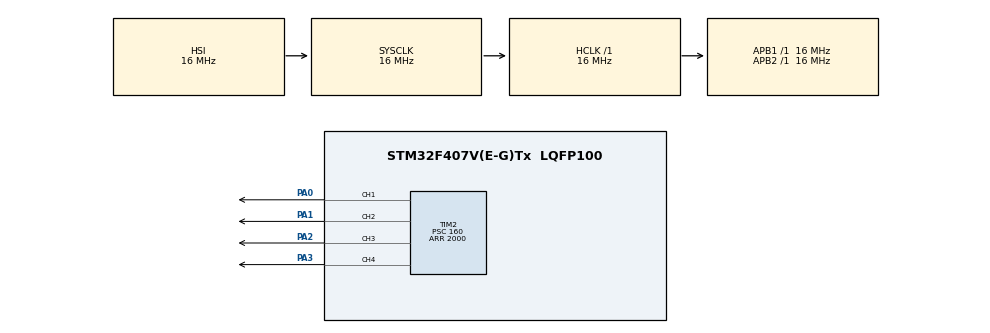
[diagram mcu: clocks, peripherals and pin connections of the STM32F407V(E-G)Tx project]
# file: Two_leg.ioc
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Mcu.Family=STM32F4
Mcu.Name=STM32F407V(E-G)Tx
Mcu.Package=LQFP100
NVIC.PriorityGroup=NVIC_PRIORITYGROUP_4
PA0-WKUP.Signal=S_TIM2_CH1_ETR
PA1.Signal=S_TIM2_CH2
PA2.Signal=S_TIM2_CH3
PA3.Signal=S_TIM2_CH4
ProjectManager.HeapSize=0x200
ProjectManager.StackSize=0x400
ProjectManager.TargetToolchain=MDK-ARM V5
RCC.AHBFreq_Value=16000000
RCC.APB1Freq_Value=16000000
RCC.APB2Freq_Value=16000000
RCC.CortexFreq_Value=16000000
RCC.HSE_VALUE=25000000
RCC.HSI_VALUE=16000000
RCC.LSE_VALUE=32768
RCC.SYSCLKFreq_VALUE=16000000
RCC.VCOOutputFreq_Value=192000000
SH.S_TIM2_CH1_ETR.0=TIM2_CH1,PWM Generation1 CH1
SH.S_TIM2_CH2.0=TIM2_CH2,PWM Generation2 CH2
SH.S_TIM2_CH3.0=TIM2_CH3,PWM Generation3 CH3
SH.S_TIM2_CH4.0=TIM2_CH4,PWM Generation4 CH4
TIM2.Channel-PWM\ Generation1\ CH1=TIM_CHANNEL_1
TIM2.Channel-PWM\ Generation2\ CH2=TIM_CHANNEL_2
TIM2.Channel-PWM\ Generation3\ CH3=TIM_CHANNEL_3
TIM2.Channel-PWM\ Generation4\ CH4=TIM_CHANNEL_4
TIM2.Period=2000
TIM2.Prescaler=160
VP_TIM2_VS_ClockSourceINT.Mode=Internal
board=custom

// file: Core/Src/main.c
/* USER CODE BEGIN Header */
/**
  ******************************************************************************
  * @file           : main.c
  * @brief          : Main program body
  ******************************************************************************
  * @attention
  *
  * <h2><center>&copy; Copyright (c) 2019 STMicroelectronics.
  * All rights reserved.</center></h2>
  *
  * This software component is licensed by ST under BSD 3-Clause license,
  * the "License"; You may not use this file except in compliance with the
  * License. You may obtain a copy of the License at:
  *                        opensource.org/licenses/BSD-3-Clause
  *
  ******************************************************************************
  */
/* USER CODE END Header */

#include "main.h"

TIM_HandleTypeDef htim2;

/* USER CODE BEGIN PV */
int error_code = 0;
/* USER CODE END PV */

void SystemClock_Config(void);
static void MX_GPIO_Init(void);
static void MX_TIM2_Init(void);
/* USER CODE BEGIN PFP */
extern void user_loop(void);
static void PWM_Init(void);
static void GPIO_INIT();
/* USER CODE END PFP */

int main(void)
{

  /* MCU Configuration--------------------------------------------------------*/

  /* Reset of all peripherals, Initializes the Flash interface and the Systick. */
  HAL_Init();

  /* Configure the system clock */
  SystemClock_Config();

  /* Initialize all configured peripherals */
  MX_GPIO_Init();
  MX_TIM2_Init();
  /* USER CODE BEGIN 2 */
  PWM_Init();
  GPIO_INIT();
  user_loop();
  /* USER CODE END 2 */

  /* Infinite loop */
  while (1)
  {

  }
}

void SystemClock_Config(void)
{
  RCC_OscInitTypeDef RCC_OscInitStruct = {0};
  RCC_ClkInitTypeDef RCC_ClkInitStruct = {0};

  /** Configure the main internal regulator output voltage
  */
  __HAL_RCC_PWR_CLK_ENABLE();
  __HAL_PWR_VOLTAGESCALING_CONFIG(PWR_REGULATOR_VOLTAGE_SCALE1);
  /** Initializes the CPU, AHB and APB busses clocks
  */
  RCC_OscInitStruct.OscillatorType = RCC_OSCILLATORTYPE_HSI;
  RCC_OscInitStruct.HSIState = RCC_HSI_ON;
  RCC_OscInitStruct.HSICalibrationValue = RCC_HSICALIBRATION_DEFAULT;
  RCC_OscInitStruct.PLL.PLLState = RCC_PLL_NONE;
  if (HAL_RCC_OscConfig(&RCC_OscInitStruct) != HAL_OK)
  {
    Error_Handler();
  }
  /** Initializes the CPU, AHB and APB busses clocks
  */
  RCC_ClkInitStruct.ClockType = RCC_CLOCKTYPE_HCLK|RCC_CLOCKTYPE_SYSCLK
                              |RCC_CLOCKTYPE_PCLK1|RCC_CLOCKTYPE_PCLK2;
  RCC_ClkInitStruct.SYSCLKSource = RCC_SYSCLKSOURCE_HSI;
  RCC_ClkInitStruct.AHBCLKDivider = RCC_SYSCLK_DIV1;
  RCC_ClkInitStruct.APB1CLKDivider = RCC_HCLK_DIV1;
  RCC_ClkInitStruct.APB2CLKDivider = RCC_HCLK_DIV1;

  if (HAL_RCC_ClockConfig(&RCC_ClkInitStruct, FLASH_LATENCY_0) != HAL_OK)
  {
    Error_Handler();
  }
}

static void MX_TIM2_Init(void)
{

  TIM_ClockConfigTypeDef sClockSourceConfig = {0};
  TIM_MasterConfigTypeDef sMasterConfig = {0};
  TIM_OC_InitTypeDef sConfigOC = {0};

  htim2.Instance = TIM2;
  htim2.Init.Prescaler = 160;
  htim2.Init.CounterMode = TIM_COUNTERMODE_UP;
  htim2.Init.Period = 2000;
  htim2.Init.ClockDivision = TIM_CLOCKDIVISION_DIV1;
  htim2.Init.AutoReloadPreload = TIM_AUTORELOAD_PRELOAD_DISABLE;
  if (HAL_TIM_Base_Init(&htim2) != HAL_OK)
  {
    Error_Handler();
  }
  sClockSourceConfig.ClockSource = TIM_CLOCKSOURCE_INTERNAL;
  if (HAL_TIM_ConfigClockSource(&htim2, &sClockSourceConfig) != HAL_OK)
  {
    Error_Handler();
  }
  if (HAL_TIM_PWM_Init(&htim2) != HAL_OK)
  {
    Error_Handler();
  }
  sMasterConfig.MasterOutputTrigger = TIM_TRGO_RESET;
  sMasterConfig.MasterSlaveMode = TIM_MASTERSLAVEMODE_DISABLE;
  if (HAL_TIMEx_MasterConfigSynchronization(&htim2, &sMasterConfig) != HAL_OK)
  {
    Error_Handler();
  }
  sConfigOC.OCMode = TIM_OCMODE_PWM1;
  sConfigOC.Pulse = 100;
  sConfigOC.OCPolarity = TIM_OCPOLARITY_HIGH;
  sConfigOC.OCFastMode = TIM_OCFAST_DISABLE;
  if (HAL_TIM_PWM_ConfigChannel(&htim2, &sConfigOC, TIM_CHANNEL_1) != HAL_OK)
  {
    Error_Handler();
  }
  if (HAL_TIM_PWM_ConfigChannel(&htim2, &sConfigOC, TIM_CHANNEL_2) != HAL_OK)
  {
    Error_Handler();
  }
  if (HAL_TIM_PWM_ConfigChannel(&htim2, &sConfigOC, TIM_CHANNEL_3) != HAL_OK)
  {
    Error_Handler();
  }
  if (HAL_TIM_PWM_ConfigChannel(&htim2, &sConfigOC, TIM_CHANNEL_4) != HAL_OK)
  {
    Error_Handler();
  }
  HAL_TIM_MspPostInit(&htim2);

}

static void MX_GPIO_Init(void)
{

  /* GPIO Ports Clock Enable */
  __HAL_RCC_GPIOA_CLK_ENABLE();

}

/* USER CODE BEGIN 4 */
/* Low Level config Start generating PWM */
static void PWM_Init(void)
{
  HAL_TIM_PWM_Start(&htim2,TIM_CHANNEL_1);
  HAL_TIM_PWM_Start(&htim2,TIM_CHANNEL_2);
  HAL_TIM_PWM_Start(&htim2,TIM_CHANNEL_3);
  HAL_TIM_PWM_Start(&htim2,TIM_CHANNEL_4);
}

static void GPIO_INIT()
{
  GPIO_InitTypeDef GPIO_InitStruct = {0};

  /* GPIO Ports Clock Enable */
  __HAL_RCC_GPIOE_CLK_ENABLE();

  /*Configure GPIO pin Output Level */
  HAL_GPIO_WritePin(GPIOE, GPIO_PIN_14, GPIO_PIN_RESET);
  /*Configure GPIO pin : PE14 */
  GPIO_InitStruct.Pin = GPIO_PIN_14;
  GPIO_InitStruct.Mode = GPIO_MODE_OUTPUT_PP;
  GPIO_InitStruct.Pull = GPIO_NOPULL;
  GPIO_InitStruct.Speed = GPIO_SPEED_FREQ_LOW;
  HAL_GPIO_Init(GPIOE, &GPIO_InitStruct);
}

/* USER CODE END 4 */

void Error_Handler(void)
{
}

/************************ (C) COPYRIGHT STMicroelectronics *****END OF FILE****/
